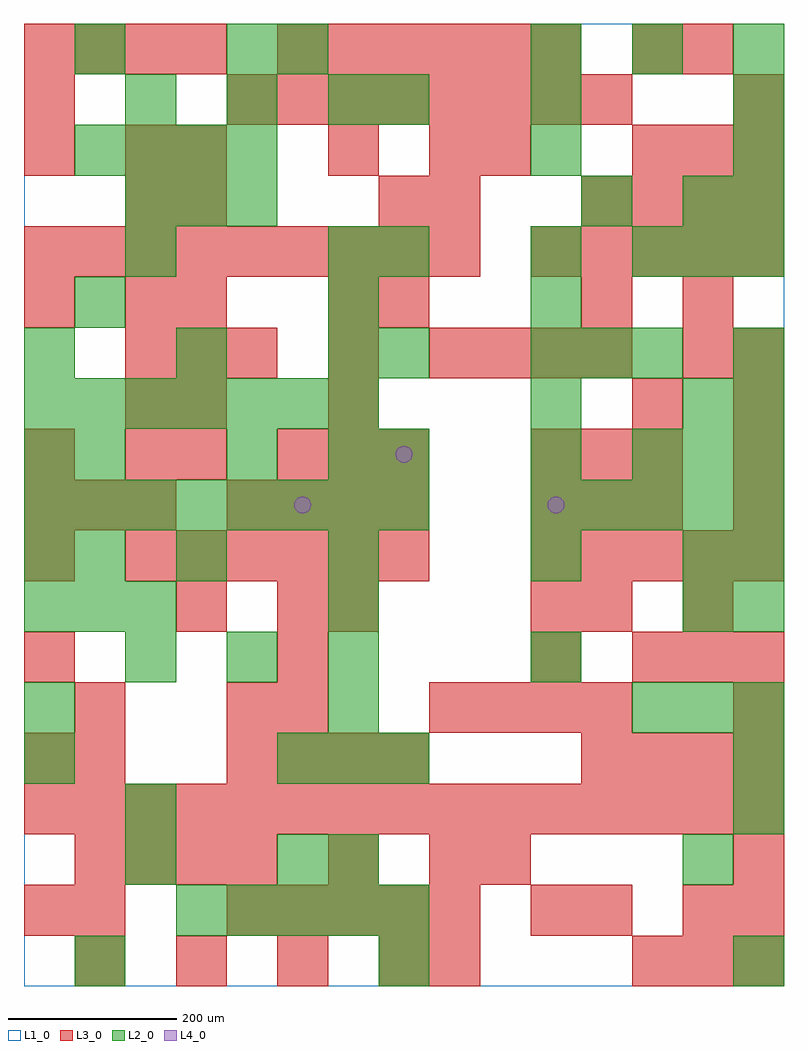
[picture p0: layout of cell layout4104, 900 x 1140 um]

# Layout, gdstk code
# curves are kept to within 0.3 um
import gdstk
lib = gdstk.Library(unit=1e-6, precision=1e-09)
def R(c, l, rs):  # rectangles x0, y0, x1, y1
    for r in rs: c.add(gdstk.rectangle(r[:2], r[2:], *l))
def A(c, l, x, y, w, h, nx, ny, dx, dy):  # array of equal rectangles
    R(c, l, [(x+i*dx, y+j*dy, x+i*dx+w, y+j*dy+h) for i in range(nx) for j in range(ny)])
def P(c, l, *ps):  # polygons
    for p in ps: c.add(gdstk.Polygon(p, *l))
L1_0 = (1, 0)
L2_0 = (2, 0)
L3_0 = (3, 0)
L4_0 = (4, 0)

layout4104 = lib.new_cell('layout4104')
R(layout4104, L1_0, [(0,0,900,1140)])
A(layout4104, L2_0, 180, 60, 60, 60, 5, 1, 60, 0)
A(layout4104, L2_0, 840, 180, 60, 60, 1, 3, 0, 60)
A(layout4104, L2_0, 300, 240, 60, 60, 3, 1, 60, 0)
A(layout4104, L2_0, 0, 300, 60, 60, 3, 1, 360, 0)
A(layout4104, L2_0, 120, 360, 60, 60, 3, 2, 120, 660)
A(layout4104, L2_0, 600, 360, 60, 60, 1, 3, 0, 120)
A(layout4104, L2_0, 0, 420, 60, 60, 3, 1, 60, 0)
A(layout4104, L2_0, 0, 540, 60, 60, 8, 1, 60, 0)
A(layout4104, L2_0, 600, 540, 60, 60, 5, 1, 60, 0)
A(layout4104, L2_0, 420, 600, 60, 60, 1, 3, 0, 120)
A(layout4104, L2_0, 720, 600, 60, 60, 3, 2, 60, 240)
A(layout4104, L2_0, 0, 660, 60, 60, 7, 1, 60, 0)
A(layout4104, L2_0, 0, 720, 60, 60, 3, 1, 180, 0)
A(layout4104, L2_0, 600, 720, 60, 60, 3, 1, 60, 0)
A(layout4104, L2_0, 120, 900, 60, 60, 3, 1, 60, 0)
A(layout4104, L2_0, 840, 900, 60, 60, 1, 3, 0, 60)
A(layout4104, L2_0, 60, 960, 60, 60, 4, 1, 60, 0)
A(layout4104, L2_0, 600, 1080, 60, 60, 3, 1, 120, 0)
R(layout4104, L2_0, [(60,0,120,60), (420,0,480,60), (840,0,900,60), (120,120,180,180), (300,120,360,180), (360,120,420,180), (780,120,840,180), (120,180,180,240), (0,240,60,300), (780,300,840,360), (360,420,420,480), (780,420,840,480), (840,420,900,480), (0,480,60,540), (60,480,120,540), (180,480,240,540), (360,480,420,540), (780,480,840,540), (840,480,900,540), (0,600,60,660), (60,600,120,660), (240,600,300,660), (360,600,420,660), (600,660,660,720), (780,660,840,720), (840,660,900,720), (840,720,900,780), (60,780,120,840), (360,780,420,840), (600,780,660,840), (120,840,180,900), (360,840,420,900), (600,840,660,900), (660,900,720,960), (780,900,840,960), (600,960,660,1020), (420,1020,480,1080), (600,1020,660,1080), (60,1080,120,1140), (240,1080,300,1140), (300,1080,360,1140)])
A(layout4104, L3_0, 60, 0, 60, 60, 4, 1, 120, 0)
A(layout4104, L3_0, 720, 0, 60, 60, 3, 2, 60, 360)
A(layout4104, L3_0, 240, 60, 60, 60, 5, 1, 60, 0)
A(layout4104, L3_0, 660, 60, 60, 60, 1, 3, 0, 360)
A(layout4104, L3_0, 60, 120, 60, 60, 4, 1, 60, 0)
A(layout4104, L3_0, 0, 180, 60, 60, 15, 1, 60, 0)
A(layout4104, L3_0, 240, 240, 60, 60, 4, 2, 60, 300)
A(layout4104, L3_0, 660, 240, 60, 60, 4, 2, 60, 660)
A(layout4104, L3_0, 480, 300, 60, 60, 4, 2, 60, 420)
A(layout4104, L3_0, 0, 360, 60, 60, 3, 1, 300, 0)
A(layout4104, L3_0, 120, 480, 60, 60, 6, 1, 60, 0)
A(layout4104, L3_0, 600, 480, 60, 60, 5, 2, 60, 360)
A(layout4104, L3_0, 0, 540, 60, 60, 3, 1, 60, 0)
A(layout4104, L3_0, 600, 540, 60, 60, 3, 2, 60, 60)
A(layout4104, L3_0, 840, 540, 60, 60, 1, 4, 0, 60)
A(layout4104, L3_0, 0, 600, 60, 60, 1, 3, 0, 180)
A(layout4104, L3_0, 300, 600, 60, 60, 3, 1, 60, 0)
A(layout4104, L3_0, 120, 660, 60, 60, 1, 3, 0, 120)
A(layout4104, L3_0, 180, 660, 60, 60, 1, 3, 0, 120)
A(layout4104, L3_0, 360, 660, 60, 60, 1, 3, 0, 60)
A(layout4104, L3_0, 120, 720, 60, 60, 3, 1, 60, 0)
A(layout4104, L3_0, 0, 840, 60, 60, 9, 1, 60, 0)
A(layout4104, L3_0, 720, 960, 60, 60, 3, 1, 60, 0)
A(layout4104, L3_0, 240, 1020, 60, 60, 8, 1, 60, 0)
A(layout4104, L3_0, 0, 1080, 60, 60, 4, 1, 60, 0)
A(layout4104, L3_0, 300, 1080, 60, 60, 6, 1, 60, 0)
R(layout4104, L3_0, [(480,0,540,60), (0,60,60,120), (60,60,120,120), (600,60,660,120), (780,60,840,120), (840,60,900,120), (360,120,420,180), (480,120,540,180), (540,120,600,180), (840,120,900,180), (0,240,60,300), (60,240,120,300), (60,300,120,360), (240,300,300,360), (300,300,360,360), (840,300,900,360), (180,420,240,480), (300,420,360,480), (360,420,420,480), (600,420,660,480), (780,420,840,480), (0,480,60,540), (120,600,180,660), (180,600,240,660), (720,660,780,720), (780,720,840,780), (420,780,480,840), (780,780,840,840), (420,900,480,960), (480,900,540,960), (120,960,180,1020), (180,960,240,1020), (360,960,420,1020), (480,960,540,1020), (540,960,600,1020), (0,1020,60,1080), (840,1020,900,1080), (720,1080,780,1140), (780,1080,840,1140)])
P(layout4104, L4_0, [(340,570),(339.239,573.827),(337.071,577.071),(333.827,579.239),(330,580),(326.173,579.239),(322.929,577.071),(320.761,573.827),(320,570),(320.761,566.173),(322.929,562.929),(326.173,560.761),(330,560),(333.827,560.761),(337.071,562.929),(339.239,566.173)],
  [(460,630),(459.239,633.827),(457.071,637.071),(453.827,639.239),(450,640),(446.173,639.239),(442.929,637.071),(440.761,633.827),(440,630),(440.761,626.173),(442.929,622.929),(446.173,620.761),(450,620),(453.827,620.761),(457.071,622.929),(459.239,626.173)],
  [(640,570),(639.239,573.827),(637.071,577.071),(633.827,579.239),(630,580),(626.173,579.239),(622.929,577.071),(620.761,573.827),(620,570),(620.761,566.173),(622.929,562.929),(626.173,560.761),(630,560),(633.827,560.761),(637.071,562.929),(639.239,566.173)])

lib.write_gds('layout4104.gds')
